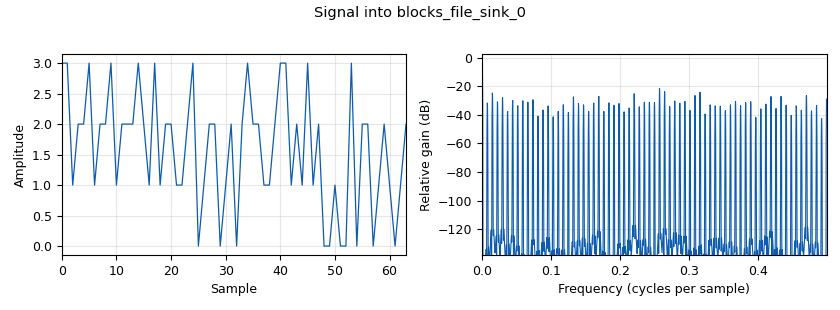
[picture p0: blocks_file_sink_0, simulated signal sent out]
<?xml version='1.0' encoding='utf-8'?>
<?grc format='1' created='3.7.13'?>
<flow_graph>
<block>
<key>options</key>
<param><key>id</key><value>ltev_tx_block</value></param>
<param><key>generate_options</key><value>qt_gui</value></param>
</block>
<block>
<key>variable</key>
<param><key>id</key><value>samp_rate</value></param>
<param><key>value</key><value>32000</value></param>
</block>
<block>
<key>blocks_char_to_float</key>
<param><key>id</key><value>blocks_char_to_float_0</value></param>
<param><key>scale</key><value>1</value></param>
</block>
<block>
<key>blocks_file_sink</key>
<param><key>id</key><value>blocks_file_sink_0</value></param>
<param><key>file</key><value>../tmp/test</value></param>
<param><key>type</key><value>float</value></param>
</block>
<block>
<key>blocks_packed_to_unpacked_xx</key>
<param><key>id</key><value>blocks_packed_to_unpacked_xx_0</value></param>
<param><key>bits_per_chunk</key><value>2</value></param>
<param><key>endianness</key><value>gr.GR_LSB_FIRST</value></param>
<param><key>type</key><value>byte</value></param>
</block>
<block>
<key>blocks_throttle</key>
<param><key>id</key><value>blocks_throttle_0</value></param>
<param><key>samples_per_second</key><value>samp_rate</value></param>
<param><key>type</key><value>byte</value></param>
</block>
<block>
<key>blocks_vector_source_x</key>
<param><key>id</key><value>blocks_vector_source_x_0</value></param>
<param><key>type</key><value>byte</value></param>
<param><key>repeat</key><value>True</value></param>
<param><key>vector</key><value>list(ord(i) for i in '...Communication Lab UAntwerpen...')</value></param>
</block>
<connection><source_block_id>blocks_char_to_float_0</source_block_id><sink_block_id>blocks_file_sink_0</sink_block_id><source_key>0</source_key><sink_key>0</sink_key></connection>
<connection><source_block_id>blocks_packed_to_unpacked_xx_0</source_block_id><sink_block_id>blocks_throttle_0</sink_block_id><source_key>0</source_key><sink_key>0</sink_key></connection>
<connection><source_block_id>blocks_throttle_0</source_block_id><sink_block_id>blocks_char_to_float_0</sink_block_id><source_key>0</source_key><sink_key>0</sink_key></connection>
<connection><source_block_id>blocks_vector_source_x_0</source_block_id><sink_block_id>blocks_packed_to_unpacked_xx_0</sink_block_id><source_key>0</source_key><sink_key>0</sink_key></connection>
</flow_graph>
